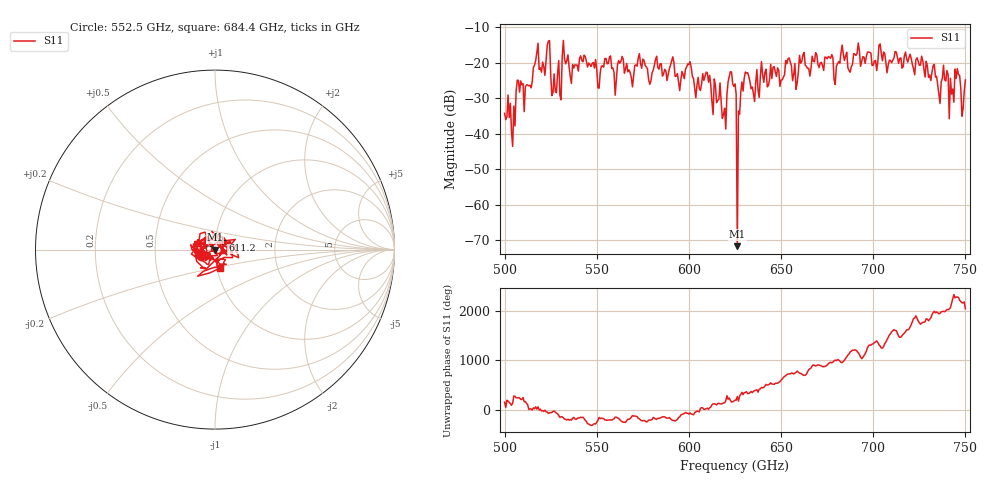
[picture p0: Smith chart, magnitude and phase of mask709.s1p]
!Created with skrf (http://scikit-rf.org).
# GHz S MA R 50.0
!freq magS11 angS11
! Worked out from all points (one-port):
!   401 points, 500 GHz to 750 GHz, reference 50 ohm
!   lowest |S11| = -71.7 dB at 626.2 GHz (marker M1), VSWR 1.00, Z = 50 - j0.0259 ohm
!   |S11| at or under -10 dB: start of sweep to end of sweep
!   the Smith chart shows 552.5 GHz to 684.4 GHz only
!   S11 on the Smith chart (normalised r, x): 552.5 GHz: 0.85, -0.07; 611.2 GHz: 1.08, +0.11; 684.4 GHz: 1.04, -0.22
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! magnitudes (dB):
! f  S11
! 500 GHz  -34.3
! 504.4 GHz  -43.6
! 507.5 GHz  -25.0
! 511.9 GHz  -26.3
! 516.9 GHz  -19.3
! 523.8 GHz  -14.0
! 526.9 GHz  -23.2
! 531.2 GHz  -18.4
! 552.5 GHz  -21.0
! 562.5 GHz  -20.2
! 593.8 GHz  -23.1
! 600 GHz  -20.6
! 611.2 GHz  -23.6
! 618.8 GHz  -34.7
! 623.8 GHz  -26.0
! 625 GHz  -26.0
! 626.2 GHz  -71.7
! 631.2 GHz  -23.0
! 635 GHz  -28.7
! 656.2 GHz  -25.1
! 684.4 GHz  -19.4
! 687.5 GHz  -22.7
! 718.8 GHz  -19.9
! 735.6 GHz  -28.9
! 739.4 GHz  -25.2
! 742.5 GHz  -28.9
! 745.6 GHz  -21.7
! 750 GHz  -24.9
